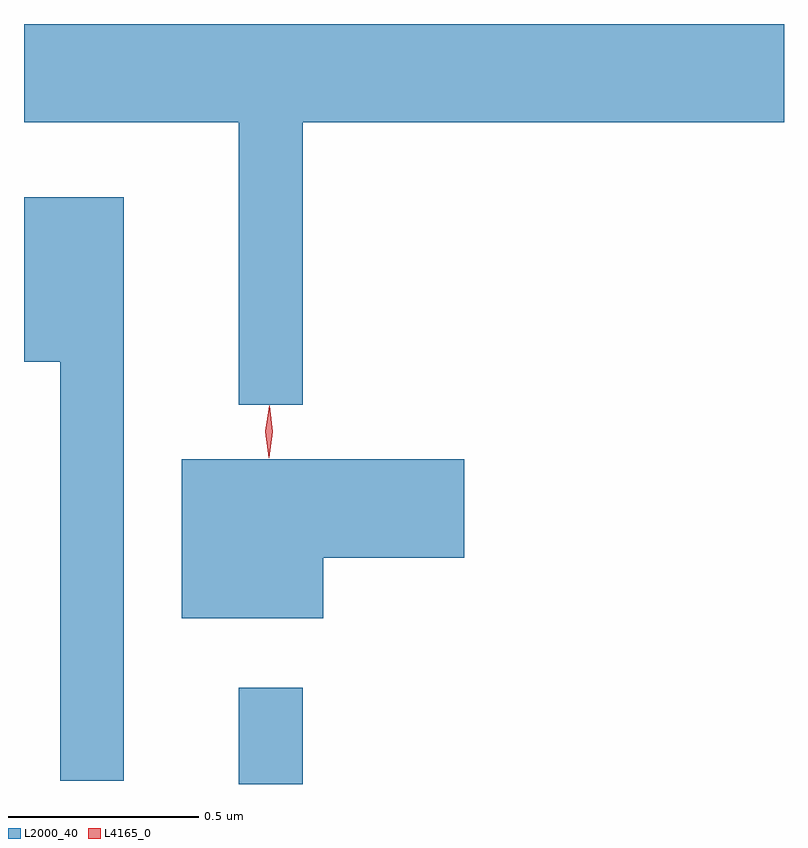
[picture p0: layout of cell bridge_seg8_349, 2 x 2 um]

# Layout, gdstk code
import gdstk
lib = gdstk.Library(unit=1e-6, precision=1e-09)
def R(c, l, rs):  # rectangles x0, y0, x1, y1
    for r in rs: c.add(gdstk.rectangle(r[:2], r[2:], *l))
def P(c, l, *ps):  # polygons
    for p in ps: c.add(gdstk.Polygon(p, *l))
L2000_40 = (2000, 40)
L4165_0 = (4165, 0)

bridge_seg8_349 = lib.new_cell('bridge_seg8_349')
R(bridge_seg8_349, L2000_40, [(883.491,1907.935,883.659,1908.188)])
P(bridge_seg8_349, L2000_40, [(883.659,1909.676),(884.926,1909.676),(884.926,1909.935),(882.926,1909.935),(882.926,1909.676),(883.491,1909.676),(883.491,1908.933),(883.659,1908.933)],
  [(883.189,1909.479),(882.926,1909.479),(882.926,1909.046),(883.021,1909.046),(883.021,1907.943),(883.189,1907.943)],
  [(883.714,1908.531),(884.084,1908.531),(884.084,1908.789),(883.341,1908.789),(883.341,1908.371),(883.714,1908.371)])
P(bridge_seg8_349, L4165_0, [(883.57,1908.794),(883.57,1908.794),(883.561,1908.862),(883.572,1908.93),(883.572,1908.93),(883.573,1908.93),(883.581,1908.862),(883.571,1908.794)],
  [(883.57,1908.8),(883.57,1908.801),(883.561,1908.864),(883.572,1908.926),(883.572,1908.927),(883.573,1908.926),(883.581,1908.863),(883.571,1908.801)])

lib.write_gds('bridge_seg8_349.gds')
